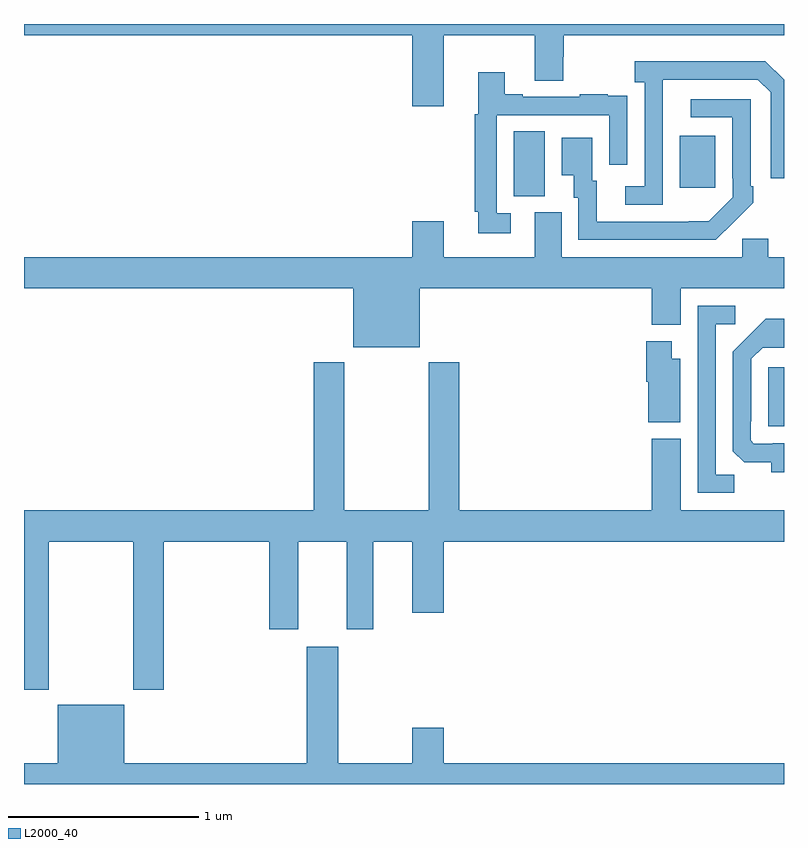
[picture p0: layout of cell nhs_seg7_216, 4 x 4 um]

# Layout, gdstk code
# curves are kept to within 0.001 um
import gdstk
lib = gdstk.Library(unit=1e-6, precision=1e-09)
def R(c, l, rs):  # rectangles x0, y0, x1, y1
    for r in rs: c.add(gdstk.rectangle(r[:2], r[2:], *l))
def P(c, l, *ps):  # polygons
    for p in ps: c.add(gdstk.Polygon(p, *l))
L2000_40 = (2000, 40)

nhs_seg7_216 = lib.new_cell('nhs_seg7_216')
R(nhs_seg7_216, L2000_40, [(130.917,1007.883,131,1008.193), (129.578,1009.093,129.742,1009.436), (130.451,1009.137,130.639,1009.411)])
P(nhs_seg7_216, L2000_40, [(129.208,1009.94),(129.689,1009.94),(129.689,1009.702),(129.837,1009.702),(129.837,1009.827),(129.842,1009.827),(129.842,1009.94),(131,1009.94),(131,1010),(127,1010),(127,1009.94),(129.044,1009.94),(129.044,1009.566),(129.208,1009.566)],
  [(130.362,1009.507),(130.363,1009.707),(130.863,1009.707),(130.929,1009.641),(130.929,1009.188),(131,1009.188),(131,1009.706),(130.902,1009.804),(130.215,1009.804),(130.215,1009.694),(130.266,1009.694),(130.266,1009.146),(130.164,1009.146),(130.164,1009.05),(130.362,1009.05)],
  [(129.562,1009.005),(129.489,1009.005),(129.489,1009.521),(130.08,1009.521),(130.08,1009.26),(130.176,1009.26),(130.176,1009.514),(130.175,1009.514),(130.175,1009.623),(130.073,1009.623),(130.073,1009.63),(129.925,1009.63),(129.925,1009.617),(129.625,1009.617),(129.625,1009.63),(129.529,1009.63),(129.529,1009.747),(129.392,1009.747),(129.392,1009.524),(129.373,1009.524),(129.373,1009.012),(129.392,1009.012),(129.392,1008.9),(129.562,1008.9)],
  [(130.733,1008.955),(130.734,1008.954),(130.839,1009.059),(130.839,1009.147),(130.824,1009.147),(130.824,1009.605),(130.509,1009.605),(130.509,1009.509),(130.728,1009.509),(130.728,1009.189),(130.731,1009.189),(130.731,1009.089),(130.603,1008.961),(130.015,1008.96),(130.015,1009.176),(129.991,1009.176),(129.991,1009.402),(129.83,1009.402),(129.83,1009.205),(129.893,1009.205),(129.893,1009.086),(129.918,1009.086),(129.918,1008.864),(130.642,1008.864)],
  [(129.082,1008.608),(130.304,1008.608),(130.304,1008.416),(130.456,1008.416),(130.456,1008.608),(131,1008.608),(131,1008.772),(130.918,1008.772),(130.918,1008.87),(130.779,1008.87),(130.779,1008.772),(129.829,1008.772),(129.829,1009.008),(129.689,1009.008),(129.689,1008.772),(129.208,1008.772),(129.208,1008.961),(129.044,1008.961),(129.044,1008.772),(127,1008.772),(127,1008.608),(128.732,1008.608),(128.732,1008.299),(129.082,1008.299)],
  [(130.737,1007.627),(130.641,1007.627),(130.641,1008.42),(130.744,1008.42),(130.744,1008.516),(130.545,1008.516),(130.545,1007.532),(130.737,1007.532)],
  [(131,1007.794),(130.942,1007.794),(130.942,1007.79),(130.842,1007.79),(130.824,1007.808),(130.824,1007.908),(130.827,1007.908),(130.827,1008.237),(130.887,1008.297),(131,1008.297),(131,1008.448),(130.903,1008.448),(130.731,1008.274),(130.731,1007.752),(130.79,1007.693),(130.934,1007.693),(130.934,1007.642),(131,1007.642)],
  [(130.453,1008.238),(130.408,1008.238),(130.408,1008.331),(130.274,1008.331),(130.274,1008.117),(130.286,1008.117),(130.286,1007.903),(130.453,1007.903)],
  [(127.131,1007.276),(127.576,1007.276),(127.576,1006.497),(127.736,1006.497),(127.736,1007.276),(128.291,1007.276),(128.291,1006.815),(128.443,1006.815),(128.443,1007.276),(128.699,1007.276),(128.699,1006.815),(128.839,1006.815),(128.839,1007.276),(129.044,1007.276),(129.044,1006.902),(129.208,1006.902),(129.208,1007.276),(131,1007.276),(131,1007.44),(130.456,1007.44),(130.456,1007.818),(130.304,1007.818),(130.304,1007.44),(129.29,1007.44),(129.29,1008.22),(129.13,1008.22),(129.13,1007.44),(128.685,1007.44),(128.685,1008.22),(128.525,1008.22),(128.525,1007.44),(127,1007.44),(127,1006.497),(127.131,1006.497)],
  [(131,1006.108),(129.208,1006.108),(129.208,1006.297),(129.044,1006.297),(129.044,1006.108),(128.653,1006.108),(128.653,1006.723),(128.489,1006.723),(128.489,1006.108),(127.528,1006.108),(127.528,1006.417),(127.178,1006.417),(127.178,1006.108),(127,1006.108),(127,1006),(131,1006)])

lib.write_gds('nhs_seg7_216.gds')
